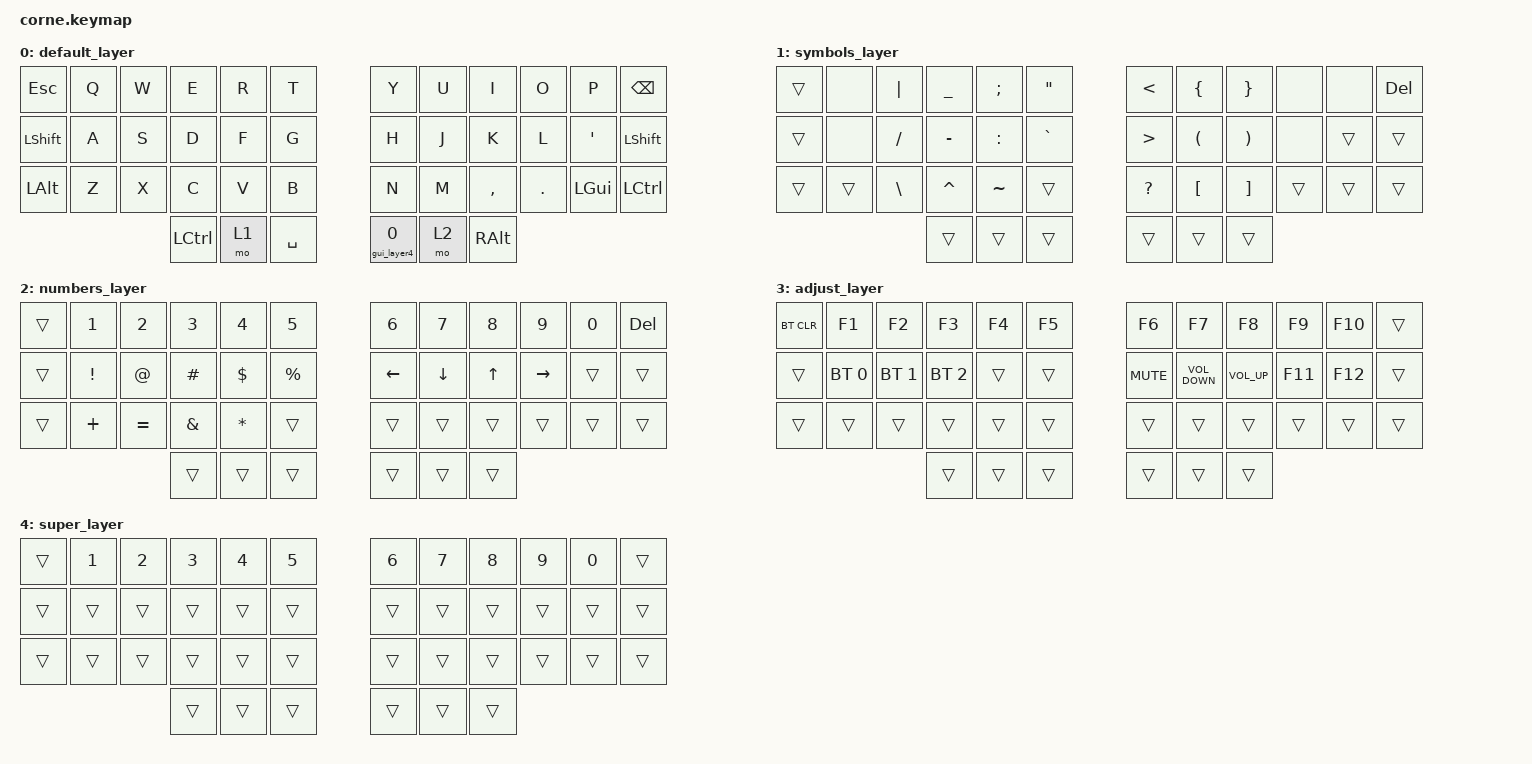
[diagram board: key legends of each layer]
#include <behaviors.dtsi>
#include <dt-bindings/zmk/bt.h>
#include <dt-bindings/zmk/keys.h>

/ {
    macros {
        gui_layer4: gui_layer4 {
            compatible = "zmk,behavior-macro-one-param";
            #binding-cells = <1>;
            bindings =
                <&macro_press>,
                <&mo 4 &kp LGUI>,
                <&macro_pause_for_release>,
                <&macro_release>,
                <&kp LGUI &mo 4>;
        };
    };

    behaviors {
        ret_super: ret_super {
            compatible = "zmk,behavior-hold-tap";
            #binding-cells = <2>;
            tapping-term-ms = <150>;
            flavor = "balanced";
            bindings = <&gui_layer4>, <&kp>;
        };
    };

    combos {
        compatible = "zmk,combos";
        combo_jk_enter {
            timeout-ms = <50>;
            key-positions = <19 20>;
            bindings = <&kp RET>;
        };
        combo_df_enter {
            timeout-ms = <50>;
            key-positions = <15 16>;
            bindings = <&kp TAB>;
        };
    };

    conditional_layers {
        compatible = "zmk,conditional-layers";
        adjust_layer {
            if-layers = <1 2>;
            then-layer = <3>;
        };
    };

    keymap {
        compatible = "zmk,keymap";
        default_layer {
            bindings = <
&kp ESC    &kp Q  &kp W  &kp E      &kp R  &kp T        &kp Y          &kp U  &kp I      &kp O    &kp P     &kp BSPC
&kp LSHFT  &kp A  &kp S  &kp D      &kp F  &kp G        &kp H          &kp J  &kp K      &kp L    &kp SQT   &kp LSHFT
&kp LALT   &kp Z  &kp X  &kp C      &kp V  &kp B        &kp N          &kp M  &kp COMMA  &kp DOT  &kp LGUI  &kp LCTRL
                         &kp LCTRL  &mo 1  &kp SPACE    &gui_layer4 0  &mo 2  &kp RALT
            >;
        };
        symbols_layer {
            bindings = <
&trans  &none   &kp PIPE       &kp UNDERSCORE  &kp SEMICOLON  &kp DOUBLE_QUOTES    &kp LESS_THAN     &kp LEFT_BRACE        &kp RIGHT_BRACE        &none   &none   &kp DEL
&trans  &none   &kp SLASH      &kp MINUS       &kp COLON      &kp GRAVE            &kp GREATER_THAN  &kp LEFT_PARENTHESIS  &kp RIGHT_PARENTHESIS  &none   &trans  &trans
&trans  &trans  &kp BACKSLASH  &kp CARET       &kp TILDE      &trans               &kp QUESTION      &kp LEFT_BRACKET      &kp RIGHT_BRACKET      &trans  &trans  &trans
                               &trans          &trans         &trans               &trans            &trans                &trans
            >;
        };
        numbers_layer {
            bindings = <
&trans  &kp N1    &kp N2     &kp N3    &kp N4     &kp N5         &kp N6    &kp N7    &kp N8  &kp N9     &kp N0  &kp DEL
&trans  &kp EXCL  &kp AT     &kp HASH  &kp DLLR   &kp PERCENT    &kp LEFT  &kp DOWN  &kp UP  &kp RIGHT  &trans  &trans
&trans  &kp PLUS  &kp EQUAL  &kp AMPS  &kp ASTRK  &trans         &trans    &trans    &trans  &trans     &trans  &trans
                             &trans    &trans     &trans         &trans    &trans    &trans
            >;
        };
        adjust_layer {
            bindings = <
&bt BT_CLR  &kp F1        &kp F2        &kp F3        &kp F4  &kp F5    &kp F6      &kp F7             &kp F8           &kp F9   &kp F10  &trans
&trans      &bt BT_SEL 0  &bt BT_SEL 1  &bt BT_SEL 2  &trans  &trans    &kp C_MUTE  &kp C_VOLUME_DOWN  &kp C_VOLUME_UP  &kp F11  &kp F12  &trans
&trans      &trans        &trans        &trans        &trans  &trans    &trans      &trans             &trans           &trans   &trans   &trans
                                        &trans        &trans  &trans    &trans      &trans             &trans
            >;
        };
        super_layer {
            bindings = <
&trans  &kp N1  &kp N2  &kp N3  &kp N4  &kp N5    &kp N6  &kp N7  &kp N8  &kp N9  &kp N0  &trans
&trans  &trans  &trans  &trans  &trans  &trans    &trans  &trans  &trans  &trans  &trans  &trans
&trans  &trans  &trans  &trans  &trans  &trans    &trans  &trans  &trans  &trans  &trans  &trans
                        &trans  &trans  &trans    &trans  &trans  &trans
            >;
        };
    };
};
